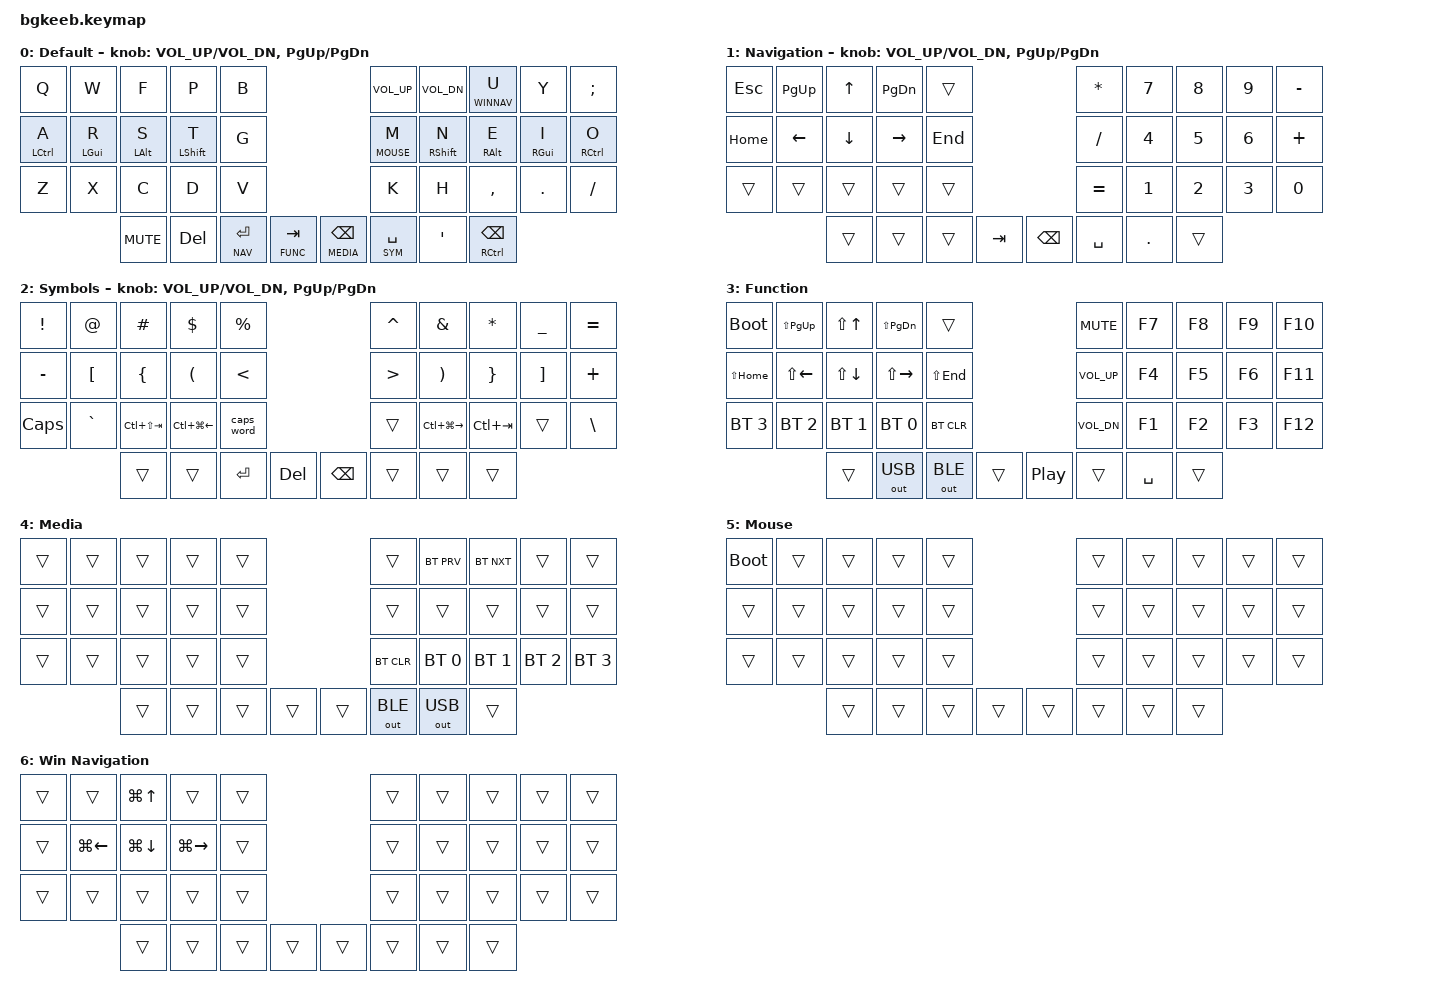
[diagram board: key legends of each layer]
// used swweeep default keymap
#include <behaviors.dtsi>
#include <dt-bindings/zmk/keys.h>
#include <dt-bindings/zmk/bt.h>
#include <dt-bindings/zmk/outputs.h>

#define DEFAULT 0
#define NAV     1
#define SYM     2
#define FUNC    3
#define MEDIA   4
#define MOUSE   5
#define WINNAV  6

&caps_word {
    continue-list = <UNDERSCORE MINUS>;
};

/ {
    combos {
        compatible = "zmk,combos";
        combo_undo {
            timeout-ms = <50>;
            key-positions = <20 21>;
            bindings = <&kp LC(Z)>;
        };
        combo_q {
            timeout-ms = <50>;
            key-positions = <21 22>;
            bindings = <&kp Q>;
        };
        combo_semicolon {
            timeout-ms = <50>;
            key-positions = <27 28>;
            bindings = <&kp SEMI>;
        };
    };
};

/ {

    behaviors {
        hm: homerow_mods {
            compatible = "zmk,behavior-hold-tap";
            label = "HOMEROW_MODS";
            #binding-cells = <2>;
            tapping-term-ms = <200>;
            quick_tap_ms = <0>;
            flavor = "balanced";
            bindings = <&kp>, <&kp>;
        };
        hs: homerow_shift {
            compatible = "zmk,behavior-hold-tap";
            label = "HOMEROW_SHIFT";
            #binding-cells = <2>;
            tapping-term-ms = <175>;
            quick_tap_ms = <0>;
            flavor = "balanced";
            bindings = <&kp>, <&kp>;
        };
        pht: positional_hold_tap {
            compatible = "zmk,behavior-hold-tap";
            label = "POSITIONAL_HOLD_TAP";
            #binding-cells = <2>;
            flavor = "hold-preferred";
            tapping-term-ms = <400>;
            quick-tap-ms = <200>;
            bindings = <&kp>, <&kp>;
            hold-trigger-key-positions = <1>;    // <---[[the W key]]
        };
    };

    keymap {
        compatible = "zmk,keymap";

        default_layer {
            label = "Default";

            bindings = <
    &kp Q        &kp W        &kp F       &kp P         &kp B                                       &kp C_VOL_UP  &kp C_VOL_DN &lt WINNAV U  &kp Y       &kp SEMI
    &hm LCTL A   &hm LGUI R   &hm LALT S  &hs LSHIFT T  &kp G                                       &lt MOUSE M   &hs RSHIFT N &hm RALT E    &hm RGUI I  &hm RCTL O
    &kp Z        &kp X        &kp C       &kp D         &kp V                                       &kp K         &kp H        &kp COMMA     &kp DOT     &kp FSLH
                              &kp K_MUTE  &kp DEL       &lt NAV RET  &lt FUNC TAB  &lt MEDIA BSPC   &lt SYM SPACE &kp SQT      &pht RCTL BSPC
            >;
            sensor-bindings = <&inc_dec_kp C_VOL_UP C_VOL_DN &inc_dec_kp PG_UP PG_DN>;
        };

        nav_layer {
            label = "Navigation";

            bindings = <
    &kp ESC      &kp PG_UP    &kp UP      &kp PG_DN     &trans                                      &kp ASTRK     &kp N7       &kp N8        &kp N9      &kp MINUS
    &kp HOME     &kp LEFT     &kp DOWN    &kp RIGHT     &kp END                                     &kp FSLH      &kp N4       &kp N5        &kp N6      &kp PLUS
    &trans       &trans       &trans      &trans        &trans                                      &kp EQUAL     &kp N1       &kp N2        &kp N3      &kp N0
                              &trans      &trans        &trans       &kp TAB       &kp BSPC         &kp SPACE     &kp DOT      &trans
            >;
            sensor-bindings = <&inc_dec_kp C_VOL_UP C_VOL_DN &inc_dec_kp PG_UP PG_DN>;
        };

        sym_layer {
            label = "Symbols";

            bindings = <
    &kp EXCL     &kp AT       &kp HASH        &kp DLLR         &kp PRCNT                                   &kp CARET     &kp AMPS          &kp ASTRK     &kp UNDER   &kp EQUAL
    &kp MINUS    &kp LBKT     &kp LBRC        &kp LPAR         &kp LT                                      &kp GT        &kp RPAR          &kp RBRC      &kp RBKT    &kp PLUS
    &kp CAPS     &kp GRAVE    &kp LC(LS(TAB)) &kp LC(LG(LEFT)) &caps_word                                  &trans        &kp LC(LG(RIGHT)) &kp LC(TAB)   &trans      &kp BSLH
                              &trans          &trans           &kp RET       &kp DEL        &kp BSPC       &trans        &trans            &trans
            >;
            sensor-bindings = <&inc_dec_kp C_VOL_UP C_VOL_DN &inc_dec_kp PG_UP PG_DN>;
        };

        func_layer {
            label = "Function";

            bindings = <
    &bootloader  &kp LS(PG_UP) &kp LS(UP)   &kp LS(PG_DN) &trans                                         &kp C_MUTE       &kp F7       &kp F8        &kp F9      &kp F10
    &kp LS(HOME) &kp LS(LEFT)  &kp LS(DOWN) &kp LS(RIGHT) &kp LS(END)                                    &kp K_VOL_UP     &kp F4       &kp F5        &kp F6      &kp F11
    &bt BT_SEL 3 &bt BT_SEL 2  &bt BT_SEL 1 &bt BT_SEL 0  &bt BT_CLR                                     &kp K_VOL_DN     &kp F1       &kp F2        &kp F3      &kp F12
                               &trans       &out OUT_USB  &out OUT_BLE     &trans      &kp C_PLAY_PAUSE  &trans           &kp SPACE    &trans
            >;
        };

        media_layer {
            label = "Media";

            bindings = <
    &trans       &trans       &trans        &trans            &trans                                      &trans             &bt BT_PRV        &bt BT_NXT         &trans         &trans
    &trans       &trans       &trans        &trans            &trans                                      &trans             &trans            &trans             &trans         &trans
    &trans       &trans       &trans        &trans            &trans                                      &bt BT_CLR         &bt BT_SEL 0      &bt BT_SEL 1       &bt BT_SEL 2   &bt BT_SEL 3
                              &trans        &trans            &trans        &trans         &trans         &out OUT_BLE       &out OUT_USB      &trans
            >;
        };

        mouse_layer {
            label = "Mouse";

            bindings = <
    &bootloader &trans      &trans      &trans      &trans                                           &trans      &trans      &trans      &trans      &trans
    &trans      &trans      &trans      &trans      &trans                                           &trans      &trans      &trans      &trans      &trans
    &trans      &trans      &trans      &trans      &trans                                           &trans      &trans      &trans      &trans      &trans
                            &trans      &trans      &trans          &trans           &trans          &trans      &trans      &trans
            >;
        };

        winnav_layer {
            label = "Win Navigation";

            bindings = <
    &trans       &trans       &kp LG(UP)   &trans        &trans                                      &trans      &trans      &trans      &trans      &trans
    &trans       &kp LG(LEFT) &kp LG(DOWN) &kp LG(RIGHT) &trans                                      &trans      &trans      &trans      &trans      &trans
    &trans       &trans       &trans       &trans        &trans                                      &trans      &trans      &trans      &trans      &trans
                              &trans       &trans        &trans        &trans         &trans         &trans      &trans      &trans
            >;
        };
    };
};
